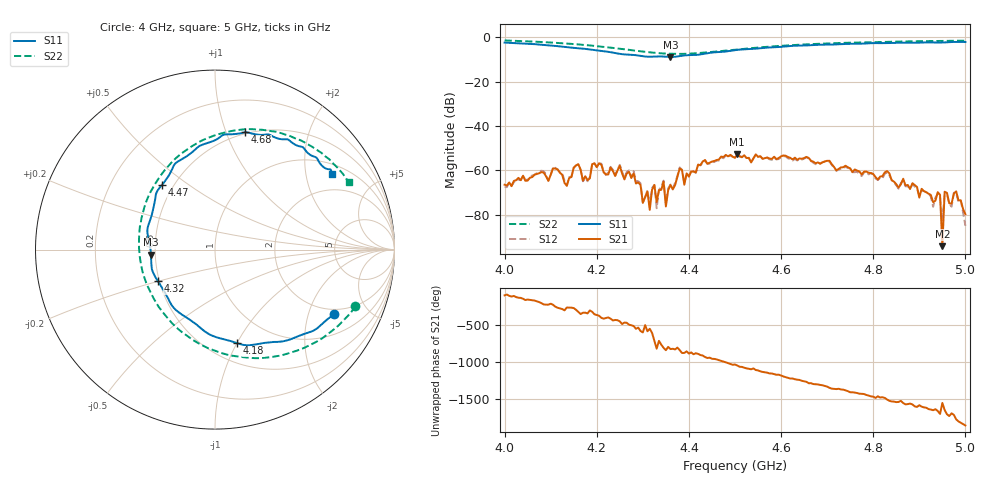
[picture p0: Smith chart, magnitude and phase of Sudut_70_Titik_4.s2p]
# Hz S RI R 50
! CMT, C1220, 16058040, 17.2.0/1
! Date: 15/08/2018 12:27:57
! Data: Format (Calibration Info)
! Freq  S11: Re/Im (F2)  S21: Re/Im (F2)  S12: Re/Im (F2)  S22: Re/Im (F2)
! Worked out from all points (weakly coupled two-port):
!   201 points, 4 GHz to 5 GHz, reference 50 ohm
!   highest |S21| = -52.78 dB at 4.505 GHz (marker M1); lowest = -94.2 dB at 4.95 GHz (marker M2)
!   lowest |S11| = -8.9 dB at 4.36 GHz (marker M3), VSWR 2.11, Z = 23.7 - j1.56 ohm
!   |S11| at or under -10 dB: nowhere
!   |S22| runs from -7.5 to -1.5 dB; largest |S21 - S12| = 0.00017
!   S11 on the Smith chart (normalised r, x): 4 GHz: 1.78, -2.96; 4.18 GHz: 0.69, -1.00; 4.32 GHz: 0.49, -0.20; 4.47 GHz: 0.43, +0.40; 4.68 GHz: 0.49, +1.16; 5 GHz: 1.31, +2.83
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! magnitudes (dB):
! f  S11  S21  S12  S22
! 4 GHz  -2.4  -66.5  -67.5  -1.5
! 4.17 GHz  -5.1  -64.7  -65.0  -3.4
! 4.18 GHz  -5.4  -64.5  -64.9  -3.6
! 4.25 GHz  -7.5  -58.0  -57.5  -5.2
! 4.315 GHz  -8.8  -77.9  -75.9  -6.8
! 4.32 GHz  -8.8  -68.8  -68.0  -6.9
! 4.33 GHz  -8.7  -74.3  -77.1  -7.1
! 4.335 GHz  -8.7  -69.0  -68.8  -7.2
! 4.345 GHz  -8.8  -65.1  -64.7  -7.4
! 4.35 GHz  -8.8  -76.3  -75.1  -7.4
! 4.36 GHz  -8.9  -66.6  -66.4  -7.5
! 4.47 GHz  -6.6  -53.8  -54.2  -6.3
! 4.5 GHz  -5.8  -54.4  -54.3  -5.6
! 4.505 GHz  -5.7  -52.8  -52.6  -5.5
! 4.67 GHz  -3.5  -56.1  -56.6  -3.1
! 4.68 GHz  -3.4  -56.5  -56.5  -3.0
! 4.835 GHz  -2.6  -61.4  -62.3  -2.1
! 4.94 GHz  -2.4  -69.9  -70.7  -1.7
! 4.95 GHz  -2.4  -94.2  -82.4  -1.7
! 4.955 GHz  -2.3  -69.7  -70.9  -1.7
! 4.98 GHz  -2.1  -69.5  -70.1  -1.6
! 5 GHz  -2.2  -79.8  -85.1  -1.6
